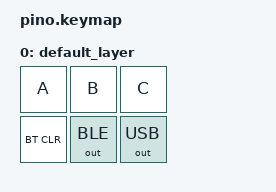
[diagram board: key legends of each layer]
#include <behaviors.dtsi>
#include <dt-bindings/zmk/keys.h>
#include <dt-bindings/zmk/bt.h>       // 追加: Bluetooth制御用
#include <dt-bindings/zmk/outputs.h>  // 追加: 出力切り替え用

/ {
    keymap {
        compatible = "zmk,keymap";

        default_layer {
            bindings = <
                &kp A        &kp B         &kp C
                &bt BT_CLR   &out OUT_BLE  &out OUT_USB
            >;
        };
    };
};
